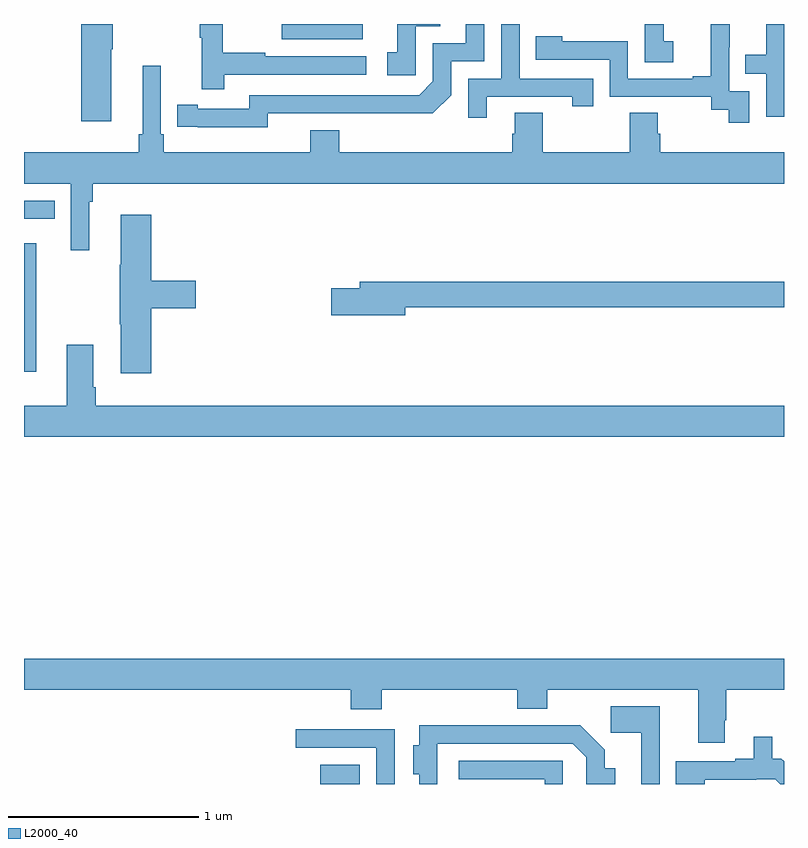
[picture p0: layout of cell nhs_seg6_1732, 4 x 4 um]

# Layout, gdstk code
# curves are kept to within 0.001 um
import gdstk
lib = gdstk.Library(unit=1e-6, precision=1e-09)
def R(c, l, rs):  # rectangles x0, y0, x1, y1
    for r in rs: c.add(gdstk.rectangle(r[:2], r[2:], *l))
def P(c, l, *ps):  # polygons
    for p in ps: c.add(gdstk.Polygon(p, *l))
L2000_40 = (2000, 40)

nhs_seg6_1732 = lib.new_cell('nhs_seg6_1732')
R(nhs_seg6_1732, L2000_40, [(216.56,953.5,216.766,953.602), (215,955.671,215.065,956.347), (215,956.475,215.162,956.571), (216.357,957.419,216.784,957.5)])
P(nhs_seg6_1732, L2000_40, [(218.416,957.409),(218.367,957.409),(218.367,957.5),(217.924,957.5),(217.926,957.498),(218.268,957.498),(218.268,957.3),(218.416,957.3)],
  [(218.817,957.147),(218.712,957.147),(218.712,957.377),(218.714,957.377),(218.714,957.5),(218.615,957.5),(218.615,957.226),(218.519,957.226),(218.519,957.213),(218.178,957.213),(218.178,957.408),(217.833,957.408),(217.833,957.435),(217.693,957.435),(217.693,957.312),(218.082,957.312),(218.082,957.117),(218.616,957.117),(218.616,957.049),(218.709,957.049),(218.709,956.979),(218.817,956.979)],
  [(216.053,957.234),(216.802,957.234),(216.802,957.33),(216.269,957.33),(216.269,957.35),(216.046,957.35),(216.046,957.5),(215.925,957.5),(215.925,957.427),(215.936,957.427),(215.936,957.156),(216.053,957.156)],
  [(217.435,957.117),(217.886,957.117),(217.886,957.066),(217.997,957.066),(217.997,957.213),(217.608,957.213),(217.608,957.5),(217.512,957.5),(217.512,957.213),(217.338,957.213),(217.338,957.006),(217.435,957.006)],
  [(216.282,957.03),(217.15,957.029),(217.248,957.126),(217.248,957.303),(217.422,957.303),(217.422,957.5),(217.325,957.5),(217.325,957.399),(217.152,957.399),(217.152,957.198),(217.08,957.126),(216.186,957.126),(216.186,957.054),(215.914,957.054),(215.914,957.074),(215.806,957.074),(215.806,956.958),(216.282,956.957)],
  [(215.458,957.367),(215.466,957.367),(215.466,957.5),(215.3,957.5),(215.3,956.988),(215.458,956.988)],
  [(217.062,957.489),(217.191,957.489),(217.191,957.5),(216.965,957.5),(216.965,957.351),(216.912,957.351),(216.912,957.231),(217.062,957.231)],
  [(219,957.5),(218.907,957.5),(218.907,957.338),(218.797,957.338),(218.797,957.237),(218.907,957.237),(218.907,957.012),(219,957.012)],
  [(215.344,956.564),(215.363,956.564),(215.363,956.66),(219,956.66),(219,956.824),(218.348,956.824),(218.348,956.922),(218.335,956.922),(218.335,957.032),(218.188,957.032),(218.188,956.824),(217.731,956.824),(217.731,957.032),(217.583,957.032),(217.583,956.922),(217.571,956.922),(217.571,956.824),(216.659,956.824),(216.659,956.941),(216.506,956.941),(216.506,956.824),(215.735,956.824),(215.735,956.92),(215.721,956.92),(215.721,957.28),(215.624,957.28),(215.624,956.92),(215.605,956.92),(215.605,956.824),(215,956.824),(215,956.66),(215.247,956.66),(215.247,956.31),(215.344,956.31)],
  [(215.669,956.003),(215.905,956.003),(215.905,956.15),(215.669,956.15),(215.669,956.497),(215.51,956.497),(215.51,956.233),(215.503,956.233),(215.503,955.919),(215.51,955.919),(215.51,955.662),(215.669,955.662)],
  [(217.006,956.008),(219,956.008),(219,956.144),(216.767,956.144),(216.767,956.108),(216.618,956.108),(216.618,955.966),(217.006,955.966)],
  [(219,955.492),(215.378,955.492),(215.378,955.588),(215.365,955.588),(215.365,955.813),(215.225,955.813),(215.225,955.492),(215,955.492),(215,955.328),(219,955.328)],
  [(218.689,953.836),(218.697,953.836),(218.697,953.996),(219,953.996),(219,954.16),(215,954.16),(215,953.996),(216.719,953.996),(216.719,953.894),(216.884,953.894),(216.884,953.996),(217.595,953.996),(217.595,953.897),(217.755,953.897),(217.755,953.996),(218.549,953.996),(218.549,953.718),(218.689,953.718)],
  [(218.346,953.908),(218.088,953.908),(218.088,953.769),(218.249,953.769),(218.249,953.5),(218.346,953.5)],
  [(217.176,953.712),(217.887,953.712),(217.959,953.64),(217.959,953.5),(218.113,953.5),(218.113,953.582),(218.057,953.582),(218.057,953.68),(217.927,953.81),(217.826,953.81),(217.826,953.808),(217.511,953.808),(217.511,953.81),(217.08,953.81),(217.08,953.704),(217.049,953.704),(217.049,953.552),(217.08,953.552),(217.08,953.5),(217.176,953.5)],
  [(216.951,953.787),(216.429,953.787),(216.429,953.691),(216.855,953.691),(216.855,953.5),(216.951,953.5)],
  [(218.583,953.523),(218.855,953.523),(218.855,953.526),(218.955,953.526),(218.981,953.5),(219,953.5),(219,953.619),(218.985,953.634),(218.938,953.634),(218.938,953.749),(218.84,953.749),(218.84,953.634),(218.744,953.634),(218.744,953.619),(218.431,953.619),(218.431,953.5),(218.583,953.5)],
  [(217.836,953.622),(217.287,953.622),(217.287,953.526),(217.74,953.526),(217.74,953.5),(217.836,953.5)])

lib.write_gds('nhs_seg6_1732.gds')
